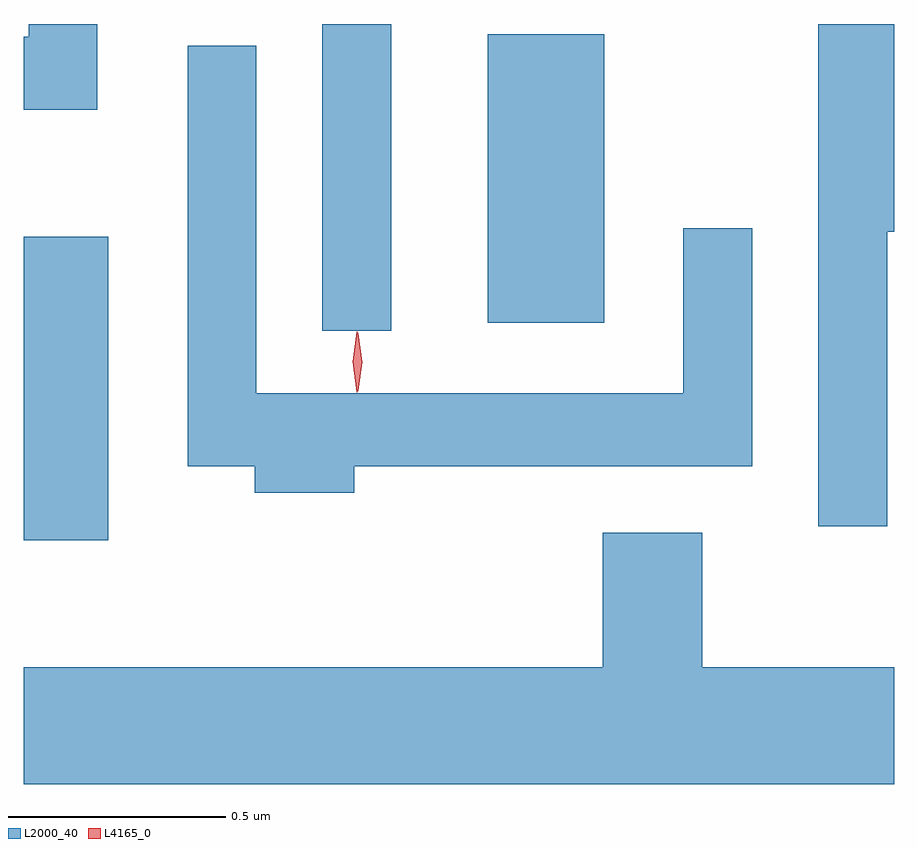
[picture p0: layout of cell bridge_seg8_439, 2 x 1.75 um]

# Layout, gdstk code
import gdstk
lib = gdstk.Library(unit=1e-6, precision=1e-09)
def R(c, l, rs):  # rectangles x0, y0, x1, y1
    for r in rs: c.add(gdstk.rectangle(r[:2], r[2:], *l))
def P(c, l, *ps):  # polygons
    for p in ps: c.add(gdstk.Polygon(p, *l))
L2000_40 = (2000, 40)
L4165_0 = (4165, 0)

bridge_seg8_439 = lib.new_cell('bridge_seg8_439')
R(bridge_seg8_439, L2000_40, [(875.75,1845.856,875.944,1846.554), (876.436,1846.338,876.594,1847.043), (876.816,1846.356,877.084,1847.019)])
P(bridge_seg8_439, L2000_40, [(877.734,1846.566),(877.75,1846.566),(877.75,1847.043),(877.576,1847.043),(877.576,1845.888),(877.734,1845.888)],
  [(875.919,1847.043),(875.761,1847.043),(875.761,1847.014),(875.75,1847.014),(875.75,1846.846),(875.919,1846.846)],
  [(876.509,1846.026),(877.424,1846.026),(877.424,1846.573),(877.266,1846.573),(877.266,1846.194),(876.284,1846.194),(876.284,1846.993),(876.126,1846.993),(876.126,1846.026),(876.281,1846.026),(876.281,1845.966),(876.509,1845.966)],
  [(877.75,1845.564),(877.309,1845.564),(877.309,1845.874),(877.081,1845.874),(877.081,1845.564),(875.75,1845.564),(875.75,1845.296),(877.75,1845.296)])
P(bridge_seg8_439, L4165_0, [(876.515,1846.197),(876.506,1846.267),(876.515,1846.336),(876.516,1846.336),(876.516,1846.336),(876.526,1846.267),(876.516,1846.197),(876.516,1846.197)],
  [(876.518,1846.199),(876.517,1846.2),(876.508,1846.266),(876.517,1846.332),(876.518,1846.333),(876.518,1846.332),(876.528,1846.266),(876.518,1846.2)])

lib.write_gds('bridge_seg8_439.gds')
